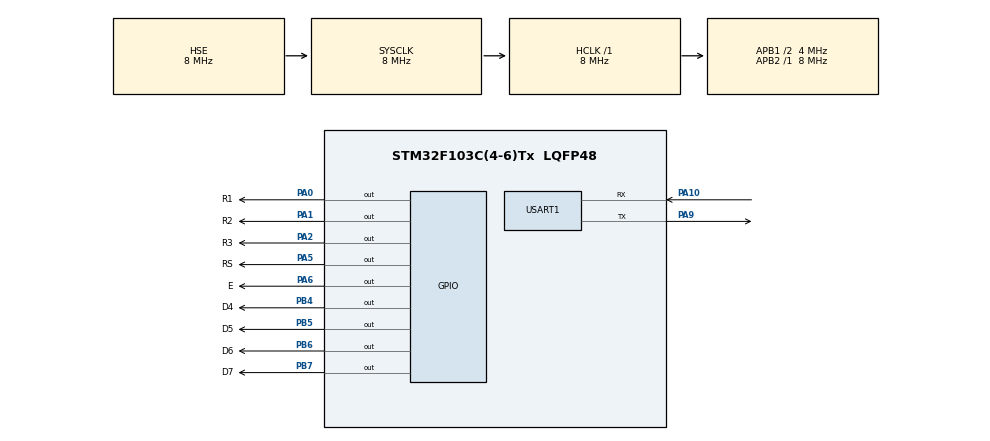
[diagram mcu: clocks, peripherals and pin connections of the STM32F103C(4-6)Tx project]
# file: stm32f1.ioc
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Mcu.Family=STM32F1
Mcu.Name=STM32F103C(4-6)Tx
Mcu.Package=LQFP48
NVIC.PriorityGroup=NVIC_PRIORITYGROUP_4
NVIC.USART1_IRQn=true\:0\:0\:false\:false\:true\:true
PA0-WKUP.GPIO_Label=R1
PA0-WKUP.Signal=GPIO_Output
PA1.GPIO_Label=R2
PA1.Signal=GPIO_Output
PA10.Mode=Asynchronous
PA10.Signal=USART1_RX
PA13.Mode=Serial_Wire
PA13.Signal=SYS_JTMS-SWDIO
PA14.Mode=Serial_Wire
PA14.Signal=SYS_JTCK-SWCLK
PA2.GPIO_Label=R3
PA2.Signal=GPIO_Output
PA5.GPIO_Label=RS
PA5.Signal=GPIO_Output
PA6.GPIO_Label=E
PA6.Signal=GPIO_Output
PA9.Mode=Asynchronous
PA9.Signal=USART1_TX
PB4.GPIO_Label=D4
PB4.Signal=GPIO_Output
PB5.GPIO_Label=D5
PB5.Signal=GPIO_Output
PB6.GPIO_Label=D6
PB6.Signal=GPIO_Output
PB7.GPIO_Label=D7
PB7.Signal=GPIO_Output
PD0-OSC_IN.Mode=HSE-External-Oscillator
PD0-OSC_IN.Signal=RCC_OSC_IN
PD1-OSC_OUT.Mode=HSE-External-Oscillator
PD1-OSC_OUT.Signal=RCC_OSC_OUT
ProjectManager.HeapSize=0x200
ProjectManager.StackSize=0x400
ProjectManager.TargetToolchain=MDK-ARM V5
RCC.AHBFreq_Value=8000000
RCC.APB1CLKDivider=RCC_HCLK_DIV2
RCC.APB1Freq_Value=4000000
RCC.APB1TimFreq_Value=8000000
RCC.APB2Freq_Value=8000000
RCC.APB2TimFreq_Value=8000000
RCC.HCLKFreq_Value=8000000
RCC.PLLSourceVirtual=RCC_PLLSOURCE_HSE
RCC.SYSCLKFreq_VALUE=8000000
RCC.SYSCLKSource=RCC_SYSCLKSOURCE_HSE
RCC.USBFreq_Value=16000000
RTC.Date=28
RTC.Month=RTC_MONTH_FEBRUARY
RTC.Year=20
USART1.VirtualMode=VM_ASYNC
VP_RTC_VS_RTC_Activate.Mode=RTC_Enabled
VP_RTC_VS_RTC_Calendar.Mode=RTC_Calendar
board=stm32f1

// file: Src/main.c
/**
  ******************************************************************************
  * File Name          : main.c
  * Description        : Main program body
  ******************************************************************************
  ** This notice applies to any and all portions of this file
  * that are not between comment pairs USER CODE BEGIN and
  * USER CODE END. Other portions of this file, whether
  * inserted by the user or by software development tools
  * are owned by their respective copyright owners.
  *
  * COPYRIGHT(c) 2020 STMicroelectronics
  *
  * Redistribution and use in source and binary forms, with or without modification,
  * are permitted provided that the following conditions are met:
  *   1. Redistributions of source code must retain the above copyright notice,
  *      this list of conditions and the following disclaimer.
  *   2. Redistributions in binary form must reproduce the above copyright notice,
  *      this list of conditions and the following disclaimer in the documentation
  *      and/or other materials provided with the distribution.
  *   3. Neither the name of STMicroelectronics nor the names of its contributors
  *      may be used to endorse or promote products derived from this software
  *      without specific prior written permission.
  *
  * THIS SOFTWARE IS PROVIDED BY THE COPYRIGHT HOLDERS AND CONTRIBUTORS "AS IS"
  * AND ANY EXPRESS OR IMPLIED WARRANTIES, INCLUDING, BUT NOT LIMITED TO, THE
  * IMPLIED WARRANTIES OF MERCHANTABILITY AND FITNESS FOR A PARTICULAR PURPOSE ARE
  * DISCLAIMED. IN NO EVENT SHALL THE COPYRIGHT HOLDER OR CONTRIBUTORS BE LIABLE
  * FOR ANY DIRECT, INDIRECT, INCIDENTAL, SPECIAL, EXEMPLARY, OR CONSEQUENTIAL
  * DAMAGES (INCLUDING, BUT NOT LIMITED TO, PROCUREMENT OF SUBSTITUTE GOODS OR
  * SERVICES; LOSS OF USE, DATA, OR PROFITS; OR BUSINESS INTERRUPTION) HOWEVER
  * CAUSED AND ON ANY THEORY OF LIABILITY, WHETHER IN CONTRACT, STRICT LIABILITY,
  * OR TORT (INCLUDING NEGLIGENCE OR OTHERWISE) ARISING IN ANY WAY OUT OF THE USE
  * OF THIS SOFTWARE, EVEN IF ADVISED OF THE POSSIBILITY OF SUCH DAMAGE.
  *
  ******************************************************************************
  */

#include "main.h"
#include "stm32f1xx_hal.h"

/* USER CODE BEGIN Includes */
#include "lcd.h"
#include "string.h"
#include <stdlib.h>
#define EN_Pin GPIO_PIN_6
#define EN_GPIO_Port GPIOA
/* USER CODE END Includes */

RTC_HandleTypeDef hrtc;

UART_HandleTypeDef huart1;

/* USER CODE BEGIN PV */
/* Private variables ---------------------------------------------------------*/
uint8_t Second;
uint8_t Minute;
uint8_t Hour;
uint8_t Date;
uint8_t Day;
uint8_t Month;
uint8_t Year;
RTC_TimeTypeDef sTime;
RTC_DateTypeDef DateToUpdate;
char cTime[32];
uint8_t Rx_data[12];
uint8_t send = 'A';
char uart_rx_buffer [60];
uint8_t Rx_indx;
uint8_t cmd;
uint32_t add;
uint8_t value;
uint32_t on_hour[3],on_minute[3],on_second[3];
uint32_t off_hour[3],off_minute[3],off_second[3];
/* USER CODE END PV */

void SystemClock_Config(void);
static void MX_GPIO_Init(void);
static void MX_USART1_UART_Init(void);
static void MX_RTC_Init(void);

/* USER CODE BEGIN PFP */
/* Private function prototypes -----------------------------------------------*/
void task(void);
/* USER CODE END PFP */

/* USER CODE BEGIN 0 */
void LCD_Enable()
{
HAL_GPIO_WritePin(GPIOA,EN_Pin,1);
HAL_Delay(1);
HAL_GPIO_WritePin(GPIOA,EN_Pin,0);
HAL_Delay(1);
}

void LCD_Send4Bit(unsigned char Data)
{
HAL_GPIO_WritePin(GPIOB,D4_Pin,Data&0x01);
HAL_GPIO_WritePin(GPIOB,D5_Pin,(Data>>1)&0x01);
HAL_GPIO_WritePin(GPIOB,D6_Pin,(Data>>2)&0x01);
HAL_GPIO_WritePin(GPIOB,D7_Pin,(Data>>3)&0x01);
}

void LCD_SendCommand(unsigned char command)
{
	LCD_Send4Bit(command >>4);/* Gui 4 bit cao */
	LCD_Enable();
	LCD_Send4Bit(command);	/* Gui 4 bit thap*/
	LCD_Enable();
}
void LCD_Clear()
{
 	LCD_SendCommand(0x01);
  HAL_Delay(1);
}

void LCD_Init()
{
	LCD_Send4Bit(0x00);
  HAL_GPIO_WritePin(GPIOA,RS_Pin,0);
	LCD_Send4Bit(0x03);
	LCD_Enable();
	LCD_Enable();
	LCD_Enable();
	LCD_Send4Bit(0x02);
	LCD_Enable();
	LCD_SendCommand(0x28); // giao thuc 4 bit, hien thi 2 hang, ki tu 5x8
	LCD_SendCommand(0x0C); // cho phep hien thi man hinh
	LCD_SendCommand(0x06); // tang ID, khong dich khung hinh
	LCD_SendCommand(0x01); // xoa toan bo khung hinh
}

void LCD_Gotoxy(unsigned char x, unsigned char y)
{
	unsigned char address;
  	if(!y)address=(0x80+x);
  	else address=(0xC0+x);
  	LCD_SendCommand(address);

}

void LCD_PutChar(unsigned char Data)
{
  HAL_GPIO_WritePin(GPIOA,RS_Pin,1);
 	LCD_SendCommand(Data);
  HAL_GPIO_WritePin(GPIOA,RS_Pin,0);
}

void LCD_Puts(char *s)
{
   	while (*s){
      	LCD_PutChar(*s);
     	s++;
   	}
}
/* USER CODE END 0 */

int main(void)
{

  /* MCU Configuration----------------------------------------------------------*/

  /* Reset of all peripherals, Initializes the Flash interface and the Systick. */
  HAL_Init();

  /* Configure the system clock */
  SystemClock_Config();

  /* Initialize all configured peripherals */
  MX_GPIO_Init();
  MX_USART1_UART_Init();
  MX_RTC_Init();

  /* USER CODE BEGIN 2 */
	LCD_Init();
	HAL_UART_Receive_IT (&huart1,Rx_data,5);
	//on_hour[0]=1;
	//on_hour[1]=1;
	//on_hour[2]=1;
	//on_second[0] = 2;
	//on_second[1] = 5;
	//on_second[2] = 10;
  /* USER CODE END 2 */

  /* Infinite loop */
  while (1)
  {

  /* USER CODE BEGIN 3 */
		//HAL_UART_Receive_IT (&huart1, Rx_data, 6);
		memset(cTime,0,sizeof(cTime));
		HAL_RTC_GetTime(&hrtc,&sTime,RTC_FORMAT_BIN);
		HAL_RTC_GetDate(&hrtc,&DateToUpdate,RTC_FORMAT_BIN);
		Second=sTime.Seconds;
		Minute=sTime.Minutes;
		Hour=sTime.Hours;
		Day=DateToUpdate.Date;
		Date=DateToUpdate.WeekDay;
		Month=DateToUpdate.Month;
		Year=DateToUpdate.Year;
		sprintf(cTime,"Time  %02d:%02d:%02d",Hour,Minute,Second);
		LCD_Gotoxy(0,0);
		LCD_Puts(cTime);
		memset(cTime,0,sizeof(cTime));
		sprintf(cTime,"Date %02d/%02d/20%02d",Day,Month,Year);
		LCD_Gotoxy(0,1);
		LCD_Puts(cTime);
		task();
		uint32_t t,t_on,t_off;
		t = Hour*60*60 + Minute*60 + Second;
		for (int i = 0;i<3;i++){
			if ((on_hour[i] != 0) || (on_minute[i] != 0) ||(on_second[i] != 0)){
				t_on = on_hour[i]*60*60 + on_minute[i]*60 + on_second[i];
				if (t >= t_on && t < (t_on+2)){
					switch(i){
						case 0:{
							HAL_GPIO_WritePin(GPIOA,R1_Pin,GPIO_PIN_SET);break;
						}
						case 1:{
							HAL_GPIO_WritePin(GPIOA,R2_Pin,GPIO_PIN_SET);break;
						}
						case 2:{
							HAL_GPIO_WritePin(GPIOA,R3_Pin,GPIO_PIN_SET);break;
						}
					}
				}
			}
			if ((off_hour[i] != 0) || (off_minute[i] != 0) ||(off_second[i] != 0)){
				t_off = off_hour[i]*60*60 + off_minute[i]*60 + off_second[i];
				if (t >= t_off && t < (t_off+2)){
					switch(i){
						case 0:{
							HAL_GPIO_WritePin(GPIOA,R1_Pin,GPIO_PIN_RESET);break;
						}
						case 1:{
							HAL_GPIO_WritePin(GPIOA,R2_Pin,GPIO_PIN_RESET);break;
						}
						case 2:{
							HAL_GPIO_WritePin(GPIOA,R3_Pin,GPIO_PIN_RESET);break;
						}
					}
				}
			}
		}
		HAL_Delay(300);
		//HAL_UART_Transmit(&huart1,&send,1,500);
		//HAL_GPIO_TogglePin(GPIOA,GPIO_PIN_0);

  }
  /* USER CODE END 3 */

}

/** System Clock Configuration
*/
void SystemClock_Config(void)
{

  RCC_OscInitTypeDef RCC_OscInitStruct;
  RCC_ClkInitTypeDef RCC_ClkInitStruct;
  RCC_PeriphCLKInitTypeDef PeriphClkInit;

    /**Initializes the CPU, AHB and APB busses clocks
    */
  RCC_OscInitStruct.OscillatorType = RCC_OSCILLATORTYPE_LSI|RCC_OSCILLATORTYPE_HSE;
  RCC_OscInitStruct.HSEState = RCC_HSE_ON;
  RCC_OscInitStruct.LSIState = RCC_LSI_ON;
  RCC_OscInitStruct.PLL.PLLState = RCC_PLL_NONE;
  if (HAL_RCC_OscConfig(&RCC_OscInitStruct) != HAL_OK)
  {
    _Error_Handler(__FILE__, __LINE__);
  }

    /**Initializes the CPU, AHB and APB busses clocks
    */
  RCC_ClkInitStruct.ClockType = RCC_CLOCKTYPE_HCLK|RCC_CLOCKTYPE_SYSCLK
                              |RCC_CLOCKTYPE_PCLK1|RCC_CLOCKTYPE_PCLK2;
  RCC_ClkInitStruct.SYSCLKSource = RCC_SYSCLKSOURCE_HSE;
  RCC_ClkInitStruct.AHBCLKDivider = RCC_SYSCLK_DIV1;
  RCC_ClkInitStruct.APB1CLKDivider = RCC_HCLK_DIV2;
  RCC_ClkInitStruct.APB2CLKDivider = RCC_HCLK_DIV1;

  if (HAL_RCC_ClockConfig(&RCC_ClkInitStruct, FLASH_LATENCY_0) != HAL_OK)
  {
    _Error_Handler(__FILE__, __LINE__);
  }

  PeriphClkInit.PeriphClockSelection = RCC_PERIPHCLK_RTC;
  PeriphClkInit.RTCClockSelection = RCC_RTCCLKSOURCE_LSI;
  if (HAL_RCCEx_PeriphCLKConfig(&PeriphClkInit) != HAL_OK)
  {
    _Error_Handler(__FILE__, __LINE__);
  }

    /**Configure the Systick interrupt time
    */
  HAL_SYSTICK_Config(HAL_RCC_GetHCLKFreq()/1000);

    /**Configure the Systick
    */
  HAL_SYSTICK_CLKSourceConfig(SYSTICK_CLKSOURCE_HCLK);

  /* SysTick_IRQn interrupt configuration */
  HAL_NVIC_SetPriority(SysTick_IRQn, 0, 0);
}

/* RTC init function */
static void MX_RTC_Init(void)
{

  RTC_TimeTypeDef sTime;
  RTC_DateTypeDef DateToUpdate;

    /**Initialize RTC Only
    */
  hrtc.Instance = RTC;
  hrtc.Init.AsynchPrediv = RTC_AUTO_1_SECOND;
  hrtc.Init.OutPut = RTC_OUTPUTSOURCE_ALARM;
  if (HAL_RTC_Init(&hrtc) != HAL_OK)
  {
    _Error_Handler(__FILE__, __LINE__);
  }

    /**Initialize RTC and set the Time and Date
    */
  if(HAL_RTCEx_BKUPRead(&hrtc, RTC_BKP_DR1) != 0x32F2){
  sTime.Hours = 0x01;
  sTime.Minutes = 0x0;
  sTime.Seconds = 0x0;

  if (HAL_RTC_SetTime(&hrtc, &sTime, RTC_FORMAT_BCD) != HAL_OK)
  {
    _Error_Handler(__FILE__, __LINE__);
  }

  DateToUpdate.WeekDay = RTC_WEEKDAY_MONDAY;
  DateToUpdate.Month = RTC_MONTH_FEBRUARY;
  DateToUpdate.Date = 0x28;
  DateToUpdate.Year = 0x20;

  if (HAL_RTC_SetDate(&hrtc, &DateToUpdate, RTC_FORMAT_BCD) != HAL_OK)
  {
    _Error_Handler(__FILE__, __LINE__);
  }

    HAL_RTCEx_BKUPWrite(&hrtc,RTC_BKP_DR1,0x32F2);
  }

}

/* USART1 init function */
static void MX_USART1_UART_Init(void)
{

  huart1.Instance = USART1;
  huart1.Init.BaudRate = 9600;
  huart1.Init.WordLength = UART_WORDLENGTH_8B;
  huart1.Init.StopBits = UART_STOPBITS_1;
  huart1.Init.Parity = UART_PARITY_NONE;
  huart1.Init.Mode = UART_MODE_TX_RX;
  huart1.Init.HwFlowCtl = UART_HWCONTROL_NONE;
  huart1.Init.OverSampling = UART_OVERSAMPLING_16;
  if (HAL_UART_Init(&huart1) != HAL_OK)
  {
    _Error_Handler(__FILE__, __LINE__);
  }

}

/** Configure pins as
        * Analog
        * Input
        * Output
        * EVENT_OUT
        * EXTI
*/
static void MX_GPIO_Init(void)
{

  GPIO_InitTypeDef GPIO_InitStruct;

  /* GPIO Ports Clock Enable */
  __HAL_RCC_GPIOD_CLK_ENABLE();
  __HAL_RCC_GPIOA_CLK_ENABLE();
  __HAL_RCC_GPIOB_CLK_ENABLE();

  /*Configure GPIO pin Output Level */
  HAL_GPIO_WritePin(GPIOA, R1_Pin|R2_Pin|R3_Pin|RS_Pin
                          |E_Pin, GPIO_PIN_RESET);

  /*Configure GPIO pin Output Level */
  HAL_GPIO_WritePin(GPIOB, D4_Pin|D5_Pin|D6_Pin|D7_Pin, GPIO_PIN_RESET);

  /*Configure GPIO pins : R1_Pin R2_Pin R3_Pin RS_Pin
                           E_Pin */
  GPIO_InitStruct.Pin = R1_Pin|R2_Pin|R3_Pin|RS_Pin
                          |E_Pin;
  GPIO_InitStruct.Mode = GPIO_MODE_OUTPUT_PP;
  GPIO_InitStruct.Speed = GPIO_SPEED_FREQ_LOW;
  HAL_GPIO_Init(GPIOA, &GPIO_InitStruct);

  /*Configure GPIO pins : D4_Pin D5_Pin D6_Pin D7_Pin */
  GPIO_InitStruct.Pin = D4_Pin|D5_Pin|D6_Pin|D7_Pin;
  GPIO_InitStruct.Mode = GPIO_MODE_OUTPUT_PP;
  GPIO_InitStruct.Speed = GPIO_SPEED_FREQ_LOW;
  HAL_GPIO_Init(GPIOB, &GPIO_InitStruct);

}

/* USER CODE BEGIN 4 */
void HAL_UART_RxCpltCallback(UART_HandleTypeDef *huart)
{
	//HAL_UART_Transmit(&huart1,&send,1,500);
	//HAL_GPIO_TogglePin(GPIOA,GPIO_PIN_0);
	if (huart->Instance == USART1)
	{
			cmd = Rx_data[0];
			value = Rx_data[4];
			add = (uint32_t)(Rx_data[1])<<16 | (uint32_t)(Rx_data[2])<<8 | (uint32_t)(Rx_data[3]);
			HAL_UART_Transmit(&huart1,Rx_data,5,500);
			memset(Rx_data,0,sizeof(Rx_data));
			HAL_UART_Receive_IT (&huart1, Rx_data,5);
	}

}
void task(void){
	if (cmd != 0x00){
		if (cmd == 0xF1)
		{
			cmd = 0x00;
			if (add == 0x00160601){
				HAL_GPIO_WritePin(GPIOA,R1_Pin,value);
			}
			if (add == 0x00160602){
				HAL_GPIO_WritePin(GPIOA,R2_Pin,value);
			}
			if (add == 0x00160603){
				HAL_GPIO_WritePin(GPIOA,R3_Pin,value);
			}
		}
		if (cmd == 0xE1)
		{
			cmd = 0x00;
			if (add == 0x00160601){
				on_hour[0] = value;
			}
			if (add == 0x00160602){
				on_hour[1] = value;
			}
			if (add == 0x00160603){
				on_hour[2] = value;
			}
		}
		if (cmd == 0xE2)
		{
			cmd = 0x00;
			if (add == 0x00160601){
				on_minute[0] = value;
			}
			if (add == 0x00160602){
				on_minute[1] = value;
			}
			if (add == 0x00160603){
				on_minute[2] = value;
			}
		}
		if (cmd == 0xE3)
		{
			cmd = 0x00;
			if (add == 0x00160601){
				on_second[0] = value;
			}
			if (add == 0x00160602){
				on_second[1] = value;
			}
			if (add == 0x00160603){
				on_second[2] = value;
			}
		}
		if (cmd == 0xD1)
		{
			cmd = 0x00;
			if (add == 0x00160601){
				off_hour[0] = value;
			}
			if (add == 0x00160602){
				off_hour[1] = value;
			}
			if (add == 0x00160603){
				off_hour[2] = value;
			}
		}
		if (cmd == 0xD2)
		{
			cmd = 0x00;
			if (add == 0x00160601){
				off_minute[0] = value;
			}
			if (add == 0x00160602){
				off_minute[1] = value;
			}
			if (add == 0x00160603){
				off_minute[2] = value;
			}
		}
		if (cmd == 0xD3)
		{
			cmd = 0x00;
			if (add == 0x00160601){
				off_second[0] = value;
			}
			if (add == 0x00160602){
				off_second[1] = value;
			}
			if (add == 0x00160603){
				off_second[2] = value;
			}
		}
	}
}

/* USER CODE END 4 */

void _Error_Handler(char * file, int line)
{
  while(1)
  {
  }
}

/************************ (C) COPYRIGHT STMicroelectronics *****END OF FILE****/
